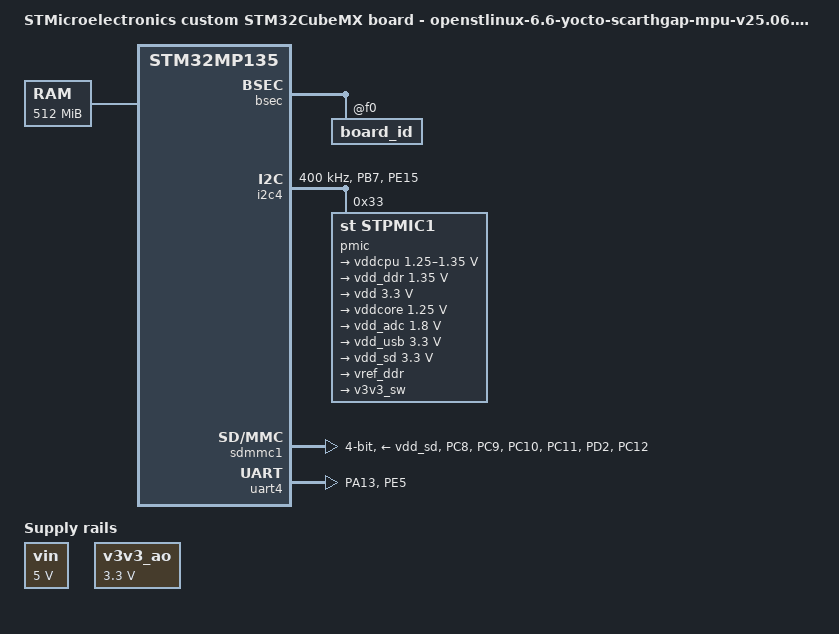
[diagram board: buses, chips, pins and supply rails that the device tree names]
// SPDX-License-Identifier: (GPL-2.0-or-later OR BSD-3-Clause)
/*
 * Copyright (C) 2026, STMicroelectronics - All Rights Reserved
 * Author: STM32CubeMX code generation for STMicroelectronics.
 */

/* For more information on Device Tree configuration, please refer to
 * https://wiki.st.com/stm32mpu/wiki/Category:Device_tree_configuration
 */

/dts-v1/;

#include <dt-bindings/pinctrl/stm32-pinfunc.h>
#include <dt-bindings/clock/stm32mp13-clksrc.h>
#include "stm32mp13-mx.dtsi"

#include "stm32mp135.dtsi"
#include "stm32mp13xd.dtsi"
#include "stm32mp13-ddr.dtsi"

/* USER CODE BEGIN includes */
/* USER CODE END includes */

/ {
	model = "STMicroelectronics custom STM32CubeMX board - openstlinux-6.6-yocto-scarthgap-mpu-v25.06.11";
	compatible = "st,stm32mp135d-oddesey-mx", "st,stm32mp135";

	memory@c0000000 {
		device_type = "memory";
		reg = <0xc0000000 0x20000000>;

		/* USER CODE BEGIN memory */
		/* USER CODE END memory */
	};

	/* USER CODE BEGIN root */
	aliases {
		serial0 = &uart4;
	};

	chosen {
		stdout-path = "serial0:115200n8";
	};

	/* 5V_IN from USB-C (input of all PMIC bucks/LDOs) */
	vin: regulator-vin {
		compatible = "regulator-fixed";
		regulator-name = "vin";
		regulator-min-microvolt = <5000000>;
		regulator-max-microvolt = <5000000>;
		regulator-always-on;
	};

	/* SYS_3V3 from the MP2161 DC/DC (always on; feeds PMIC SWIN) */
	v3v3_ao: regulator-v3v3-ao {
		compatible = "regulator-fixed";
		regulator-name = "v3v3_ao";
		regulator-min-microvolt = <3300000>;
		regulator-max-microvolt = <3300000>;
		regulator-always-on;
	};
	/* USER CODE END root */

	clocks {
		/* USER CODE BEGIN clocks */
		/* USER CODE END clocks */

		clk_hsi: clk-hsi {
			clock-frequency = <64000000>;

			/* USER CODE BEGIN clk_hsi */
			/* USER CODE END clk_hsi */
		};
		clk_lse: clk-lse {
			clock-frequency = <32768>;
			st,drive = < LSEDRV_MEDIUM_HIGH >;

			/* USER CODE BEGIN clk_lse */
			/* USER CODE END clk_lse */
		};
		clk_hse: clk-hse {
			clock-frequency = <24000000>;

			/* USER CODE BEGIN clk_hse */
			/* USER CODE END clk_hse */
		};
		clk_i2sin: clk-i2sin {
			status = "disabled";

			/* USER CODE BEGIN clk_i2sin */
			/* USER CODE END clk_i2sin */
		};
	};

}; /*root*/

&pinctrl {
	i2c4_pins_mx: i2c4_mx-0 {
		pins {
			pinmux = <STM32_PINMUX('B', 7, AF6)>, /* I2C4_SDA */
					 <STM32_PINMUX('E', 15, AF6)>; /* I2C4_SCL */
			bias-disable;
			drive-open-drain;
			slew-rate = <0>;
		};
	};

	sdmmc1_pins_mx: sdmmc1_mx-0 {
		pins1 {
			pinmux = <STM32_PINMUX('C', 8, AF12)>, /* SDMMC1_D0 */
					 <STM32_PINMUX('C', 9, AF12)>, /* SDMMC1_D1 */
					 <STM32_PINMUX('C', 10, AF12)>, /* SDMMC1_D2 */
					 <STM32_PINMUX('C', 11, AF12)>, /* SDMMC1_D3 */
					 <STM32_PINMUX('D', 2, AF12)>; /* SDMMC1_CMD */
			bias-disable;
			drive-push-pull;
			slew-rate = <1>;
		};
		pins2 {
			pinmux = <STM32_PINMUX('C', 12, AF12)>; /* SDMMC1_CK */
			bias-disable;
			drive-push-pull;
			slew-rate = <3>;
		};
	};

	uart4_pins_mx: uart4_mx-0 {
		pins1 {
			pinmux = <STM32_PINMUX('A', 13, AF8)>; /* UART4_TX */
			bias-disable;
			drive-push-pull;
			slew-rate = <0>;
		};
		pins2 {
			pinmux = <STM32_PINMUX('E', 5, AF8)>; /* UART4_RX */
			bias-disable;
		};
	};

	/* USER CODE BEGIN pinctrl */
	/* USER CODE END pinctrl */
};

&bsec {
	status = "okay";

	/* USER CODE BEGIN bsec */
	board_id: board_id@f0 {
		reg = <0xf0 0x4>;
		st,non-secure-otp;
	};
	/* USER CODE END bsec */
};

&i2c4 {
	pinctrl-names = "default";
	pinctrl-0 = <&i2c4_pins_mx>;
	status = "okay";

	/* USER CODE BEGIN i2c4 */
	i2c-scl-rising-time-ns = <185>;
	i2c-scl-falling-time-ns = <20>;
	clock-frequency = <400000>;

	pmic: stpmic@33 {
		compatible = "st,stpmic1";
		reg = <0x33>;
		status = "okay";

		regulators {
			compatible = "st,stpmic1-regulators";
			buck1-supply = <&vin>;
			buck2-supply = <&vin>;
			buck3-supply = <&vin>;
			buck4-supply = <&vin>;
			ldo1-supply = <&vin>;
			ldo4-supply = <&vin>;
			ldo5-supply = <&vin>;
			vref_ddr-supply = <&vin>;
			pwr_sw2-supply = <&v3v3_ao>;

			/* BUCK1 -> VDD_CPU. 1.25V for 650MHz. */
			vddcpu: buck1 {
				regulator-name = "vddcpu";
				regulator-min-microvolt = <1250000>;
				regulator-max-microvolt = <1350000>;
				regulator-always-on;
				regulator-over-current-protection;
			};

			/* BUCK2 -> VDD_DDR. DDR3L (D2516EC4BXGGB) needs 1.35V (schematic label "1.1V" is wrong for DDR3L). */
			vdd_ddr: buck2 {
				regulator-name = "vdd_ddr";
				regulator-min-microvolt = <1350000>;
				regulator-max-microvolt = <1350000>;
				regulator-always-on;
				regulator-over-current-protection;
			};

			/* BUCK3 -> VDD_3V3 (MPU VDD, VDDSD1/2, PLL, VBAT) */
			vdd: buck3 {
				regulator-name = "vdd";
				regulator-min-microvolt = <3300000>;
				regulator-max-microvolt = <3300000>;
				regulator-always-on;
				st,mask-reset;
				regulator-over-current-protection;
			};

			/* BUCK4 -> VDD_CORE */
			vddcore: buck4 {
				regulator-name = "vddcore";
				regulator-min-microvolt = <1250000>;
				regulator-max-microvolt = <1250000>;
				regulator-always-on;
				regulator-over-current-protection;
			};

			/* LDO1 -> VDD_ADC_1V8 (VDDA / VREF+). 1.8V on this board, NOT 3.3V as on the DK. */
			vdd_adc: ldo1 {
				regulator-name = "vdd_adc";
				regulator-min-microvolt = <1800000>;
				regulator-max-microvolt = <1800000>;
			};

			/* LDO4 -> VDD_USB_3V3 (VDD3V3_USB) */
			vdd_usb: ldo4 {
				regulator-name = "vdd_usb";
				regulator-min-microvolt = <3300000>;
				regulator-max-microvolt = <3300000>;
			};

			/* LDO5 -> VDD_SD_3V3 (microSD slot) */
			vdd_sd: ldo5 {
				regulator-name = "vdd_sd";
				regulator-min-microvolt = <3300000>;
				regulator-max-microvolt = <3300000>;
				regulator-boot-on;
			};

			/* REFDDR -> VREF_DDR 0.675V */
			vref_ddr: vref_ddr {
				regulator-name = "vref_ddr";
				regulator-always-on;
			};

			/* PWR_SW2 (SWOUT) -> 3V3_SW = ETH2 PHY supply (VDD_ETH2) */
			v3v3_sw: pwr_sw2 {
				regulator-name = "v3v3_sw";
				regulator-active-discharge = <1>;
				regulator-always-on;
			};
		};
	};
	/* USER CODE END i2c4 */
};

&rcc {
	status = "okay";
	st,clksrc = <
		CLK_MPU_PLL1P
		CLK_AXI_PLL2P
		CLK_MLAHBS_HSI
		CLK_CKPER_DISABLED
		CLK_SDMMC1_HSI
		CLK_STGEN_HSI
		CLK_I2C4_PCLK6
		CLK_UART4_PCLK1
	>;
	st,clkdiv = <
		DIV(DIV_MPU, 1)
		DIV(DIV_AXI, 0)
		DIV(DIV_MLAHB, 0)
		DIV(DIV_APB1, 0)
		DIV(DIV_APB2, 0)
		DIV(DIV_APB3, 0)
		DIV(DIV_APB4, 1)
		DIV(DIV_APB5, 2)
		DIV(DIV_APB6, 0)
	>;
	st,pll_vco {
		pll1_vco_1300Mhz: pll1-vco-1300Mhz {
			src = < CLK_PLL12_HSE >;
			divmn = < 2 80 >;
			frac = < 0x800 >;
		};
		pll2_vco_1066Mhz: pll2-vco-1066Mhz {
			src = < CLK_PLL12_HSE >;
			divmn = < 2 65 >;
			frac = < 0x1400 >;
		};
		/* USER CODE BEGIN rcc_st-pll_vco */
		/* USER CODE END rcc_st-pll_vco */
	};

	pll1:st,pll@0 {
		compatible = "st,stm32mp1-pll";
		reg = <0>;

		st,pll = < &pll1_cfg1 >;

		pll1_cfg1: pll1_cfg1 {
			st,pll_vco = < &pll1_vco_1300Mhz >;
			st,pll_div_pqr = < 0 1 1 >;
		};
		/* USER CODE BEGIN pll1 */
		/* USER CODE END pll1 */
	};

	pll2:st,pll@1 {
		compatible = "st,stm32mp1-pll";
		reg = <1>;

		st,pll = < &pll2_cfg1 >;

		pll2_cfg1: pll2_cfg1 {
			st,pll_vco = < &pll2_vco_1066Mhz >;
			st,pll_div_pqr = < 1 1 0 >;
		};
		/* USER CODE BEGIN pll2 */
		/* USER CODE END pll2 */
	};

};

&sdmmc1 {
	pinctrl-names = "default";
	pinctrl-0 = <&sdmmc1_pins_mx>;
	status = "okay";

	/* USER CODE BEGIN sdmmc1 */
	bus-width = <4>;
	st,neg-edge;
	disable-wp;
	vmmc-supply = <&vdd_sd>;
	/* USER CODE END sdmmc1 */
};

&uart4 {
	pinctrl-names = "default";
	pinctrl-0 = <&uart4_pins_mx>;
	status = "okay";

	/* USER CODE BEGIN uart4 */
	/* USER CODE END uart4 */
};

/* USER CODE BEGIN addons */
&cpu0 {
	cpu-supply = <&vddcpu>;
};

&ddr {
	vdd-supply = <&vdd_ddr>;
	vref-supply = <&vref_ddr>;
};

&pwr_regulators {
	vdd-supply = <&vdd>;
	vdd_3v3_usbfs-supply = <&vdd_usb>;
};
/* USER CODE END addons */

